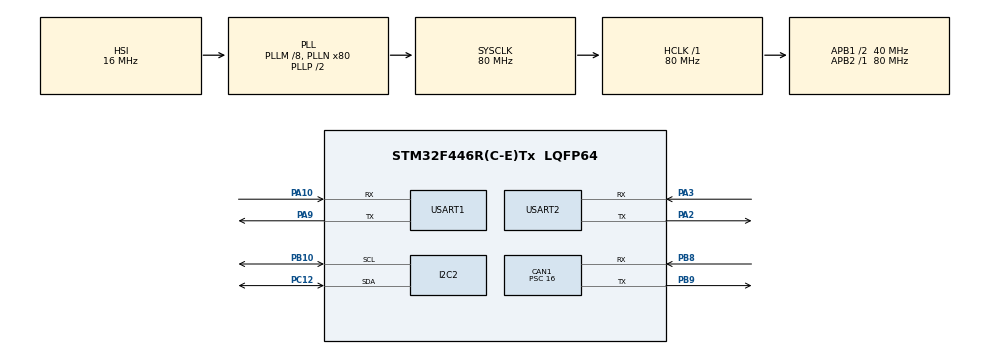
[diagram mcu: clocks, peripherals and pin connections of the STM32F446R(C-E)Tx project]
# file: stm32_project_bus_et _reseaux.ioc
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CAN1.BS1=CAN_BS1_2TQ
CAN1.BS2=CAN_BS2_2TQ
CAN1.CalculateBaudRate=500000
CAN1.CalculateTimeBit=2000
CAN1.CalculateTimeQuantum=400.0
CAN1.Prescaler=16
Mcu.Family=STM32F4
Mcu.Name=STM32F446R(C-E)Tx
Mcu.Package=LQFP64
NVIC.PriorityGroup=NVIC_PRIORITYGROUP_0
NVIC.USART1_IRQn=true\:0\:0\:false\:false\:true\:true\:true\:true
NVIC.USART2_IRQn=true\:0\:0\:false\:false\:true\:true\:true\:true
PA10.Mode=Asynchronous
PA10.Signal=USART1_RX
PA2.Mode=Asynchronous
PA2.Signal=USART2_TX
PA3.Mode=Asynchronous
PA3.Signal=USART2_RX
PA9.Mode=Asynchronous
PA9.Signal=USART1_TX
PB10.Mode=I2C
PB10.Signal=I2C2_SCL
PB8.Mode=CAN_Activate
PB8.Signal=CAN1_RX
PB9.Mode=CAN_Activate
PB9.Signal=CAN1_TX
PC12.Mode=I2C
PC12.Signal=I2C2_SDA
PH0-OSC_IN.Mode=HSE-External-Oscillator
PH0-OSC_IN.Signal=RCC_OSC_IN
PH1-OSC_OUT.Mode=HSE-External-Oscillator
PH1-OSC_OUT.Signal=RCC_OSC_OUT
ProjectManager.HeapSize=0x200
ProjectManager.StackSize=0x400
ProjectManager.TargetToolchain=STM32CubeIDE
RCC.AHBFreq_Value=80000000
RCC.APB1CLKDivider=RCC_HCLK_DIV2
RCC.APB1Freq_Value=40000000
RCC.APB1TimFreq_Value=80000000
RCC.APB2Freq_Value=80000000
RCC.APB2TimFreq_Value=80000000
RCC.CortexFreq_Value=80000000
RCC.FLatency-AdvancedSettings=FLASH_LATENCY_2
RCC.HCLKFreq_Value=80000000
RCC.HSE_VALUE=8000000
RCC.HSI_VALUE=16000000
RCC.LSE_VALUE=32768
RCC.PLLM=8
RCC.PLLN=80
RCC.SYSCLKFreq_VALUE=80000000
RCC.SYSCLKSource=RCC_SYSCLKSOURCE_PLLCLK
RCC.USBFreq_Value=80000000
RCC.VCOOutputFreq_Value=160000000
USART1.VirtualMode=VM_ASYNC
USART2.VirtualMode=VM_ASYNC
board=NUCLEO-F446RE

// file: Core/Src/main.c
/* USER CODE BEGIN Header */
/**
 ******************************************************************************
 * @file           : main.c
 * @brief          : Main program body
 ******************************************************************************
 * @attention
 *
 * Copyright (c) 2022 STMicroelectronics.
 * All rights reserved.
 *
 * This software is licensed under terms that can be found in the LICENSE file
 * in the root directory of this software component.
 * If no LICENSE file comes with this software, it is provided AS-IS.
 *
 ******************************************************************************
 */
/* USER CODE END Header */
#include "main.h"
#include "can.h"
#include "i2c.h"
#include "usart.h"
#include "gpio.h"

/* USER CODE BEGIN Includes */
#include "BMP280.h"
#include "shell.h"
#include "stepper.h"
#include <stdio.h>
/* USER CODE END Includes */

/* USER CODE BEGIN PV */
Shell shell;
uint8_t lastCharReceived;

stepper_t stepper;
/* USER CODE END PV */

void SystemClock_Config(void);

/* USER CODE BEGIN 0 */
void HAL_UART_RxCpltCallback(UART_HandleTypeDef* huart){
	if(huart->Instance == shell.uartRegisters){
		HAL_UART_Receive_IT(shell.uartHandler, (uint8_t*) &lastCharReceived, 1);
		shell_charReceived(&shell);
	}
}
/* USER CODE END 0 */

int main(void)
{

	/* MCU Configuration--------------------------------------------------------*/

	/* Reset of all peripherals, Initializes the Flash interface and the Systick. */
	HAL_Init();

	/* Configure the system clock */
	SystemClock_Config();

	/* Initialize all configured peripherals */
	MX_GPIO_Init();
	MX_USART2_UART_Init();
	MX_USART1_UART_Init();
	MX_I2C2_Init();
	MX_CAN1_Init();
	/* USER CODE BEGIN 2 */
	shell_init(&shell, &huart1, USART1);
	shell_startRxIt(&shell);

	uint8_t id = BMP280_getId();
	printf("id : 0x%x\r\n", id);
	uint8_t bmp280_config = BMP280_config();
	printf("config : 0x%x\r\n", bmp280_config);

	stepper_CanInit(&stepper, &hcan1);
	stepper_set0(&stepper);
	stepper_setK(&stepper, 1);

	/* USER CODE END 2 */

	/* Infinite loop */
	/* USER CODE BEGIN WHILE */
	while (1)
	{
		float temp = BMP280_readCompensateTemp();
		//float press = BMP280_readCompensatePress()/100.0;
		//printf("%f\r\n", press);
		stepper_displayTemp(&stepper, temp, 0);

		HAL_Delay(1000);

		/* USER CODE END WHILE */

	}
}

void SystemClock_Config(void)
{
	RCC_OscInitTypeDef RCC_OscInitStruct = {0};
	RCC_ClkInitTypeDef RCC_ClkInitStruct = {0};

	/** Configure the main internal regulator output voltage
	 */
	__HAL_RCC_PWR_CLK_ENABLE();
	__HAL_PWR_VOLTAGESCALING_CONFIG(PWR_REGULATOR_VOLTAGE_SCALE3);

	/** Initializes the RCC Oscillators according to the specified parameters
	 * in the RCC_OscInitTypeDef structure.
	 */
	RCC_OscInitStruct.OscillatorType = RCC_OSCILLATORTYPE_HSI;
	RCC_OscInitStruct.HSIState = RCC_HSI_ON;
	RCC_OscInitStruct.HSICalibrationValue = RCC_HSICALIBRATION_DEFAULT;
	RCC_OscInitStruct.PLL.PLLState = RCC_PLL_ON;
	RCC_OscInitStruct.PLL.PLLSource = RCC_PLLSOURCE_HSI;
	RCC_OscInitStruct.PLL.PLLM = 8;
	RCC_OscInitStruct.PLL.PLLN = 80;
	RCC_OscInitStruct.PLL.PLLP = RCC_PLLP_DIV2;
	RCC_OscInitStruct.PLL.PLLQ = 2;
	RCC_OscInitStruct.PLL.PLLR = 2;
	if (HAL_RCC_OscConfig(&RCC_OscInitStruct) != HAL_OK)
	{
		Error_Handler();
	}

	/** Initializes the CPU, AHB and APB buses clocks
	 */
	RCC_ClkInitStruct.ClockType = RCC_CLOCKTYPE_HCLK|RCC_CLOCKTYPE_SYSCLK
			|RCC_CLOCKTYPE_PCLK1|RCC_CLOCKTYPE_PCLK2;
	RCC_ClkInitStruct.SYSCLKSource = RCC_SYSCLKSOURCE_PLLCLK;
	RCC_ClkInitStruct.AHBCLKDivider = RCC_SYSCLK_DIV1;
	RCC_ClkInitStruct.APB1CLKDivider = RCC_HCLK_DIV2;
	RCC_ClkInitStruct.APB2CLKDivider = RCC_HCLK_DIV1;

	if (HAL_RCC_ClockConfig(&RCC_ClkInitStruct, FLASH_LATENCY_2) != HAL_OK)
	{
		Error_Handler();
	}
}

void Error_Handler(void)
{
	__disable_irq();
	while (1)
	{
	}
}
